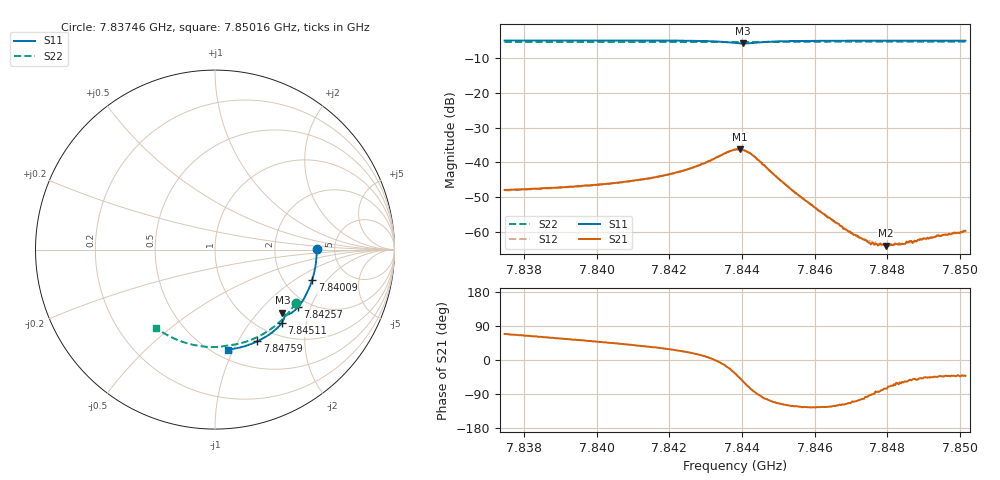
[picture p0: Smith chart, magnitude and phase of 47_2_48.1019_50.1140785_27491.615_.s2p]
#  HZ  S  RI  R  50.00
! Rohde & Schwarz Vector Network Analyzer
! Rohde-Schwarz,ZNB20-2Port,1311601062101988,3.16
! Created: UTC 12/23/2023, 3:39:22 AM
! freq[Hz]  re:S11  im:S11  re:S21  im:S21  re:S12  im:S12  re:S22  im:S22
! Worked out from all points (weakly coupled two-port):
!   401 points, 7.83746 GHz to 7.85016 GHz, reference 50 ohm
!   highest |S21| = -36.22 dB at 7.84393 GHz (marker M1); lowest = -64.0 dB at 7.84797 GHz (marker M2)
!   lowest |S11| = -5.8 dB at 7.84403 GHz (marker M3), VSWR 3.11, Z = 71.8 - j68.4 ohm
!   |S11| at or under -10 dB: nowhere
!   |S22| runs from -5.4 to -5.3 dB; largest |S21 - S12| = 0.00032
!   S11 on the Smith chart (normalised r, x): 7.83746 GHz: 3.61, +0.05; 7.84009 GHz: 2.84, -1.42; 7.84257 GHz: 1.73, -1.63; 7.84511 GHz: 1.24, -1.46; 7.84759 GHz: 0.81, -1.21; 7.85016 GHz: 0.58, -0.95
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7.837458e9  0.5666 0.00433  0.00146 0.00374  0.00147 0.00367  0.4503 -0.2978
7.839586e9  0.5506 -0.1363  0.00281 0.00361  0.0028 0.00356  0.3528 -0.4099
7.840093e9  0.5412 -0.1692  0.00325 0.00356  0.00322 0.00354  0.3248 -0.4323
7.841713e9  0.4964 -0.2706  0.0053 0.00332  0.00529 0.00332  0.2278 -0.4912
7.84257e9  0.4605 -0.3218  0.00769 0.00269  0.00766 0.00269  0.1717 -0.5136
7.843332e9  0.4129 -0.3592  0.0119 -0.0007  0.012 -0.000567  0.1198 -0.5271
7.843808e9  0.3785 -0.3585  0.0124 -0.0088  0.0125 -0.00883  0.0879 -0.5318
7.843935e9  0.3752 -0.3534  0.0105 -0.0113  0.0105 -0.0113  0.0799 -0.5329
7.84403e9  0.3758 -0.3505  0.00818 -0.0126  0.00836 -0.0125  0.0739 -0.534
7.844348e9  0.3851 -0.3561  0.00126 -0.012  0.00116 -0.012  0.0538 -0.5376
7.84511e9  0.3723 -0.4075  -0.00236 -0.0047  -0.00236 -0.00471  0.000438 -0.5429
7.845935e9  0.3311 -0.4514  -0.00137 -0.00196  -0.0014 -0.00199  -0.0579 -0.5406
7.847046e9  0.2677 -0.4947  -0.000312 -0.000891  -0.000368 -0.000864  -0.135 -0.5275
7.847586e9  0.2351 -0.5113  -4e-06 -0.000689  9.98e-06 -0.000726  -0.1714 -0.5173
7.847967e9  0.2116 -0.5217  0.000156 -0.000609  0.000202 -0.000643  -0.1966 -0.5085
7.848062e9  0.2056 -0.5242  0.00022 -0.000598  0.000261 -0.000624  -0.2027 -0.506
7.848443e9  0.1815 -0.5329  0.000336 -0.000572  0.000353 -0.000601  -0.2274 -0.4955
7.848602e9  0.1715 -0.5363  0.000424 -0.000572  0.000412 -0.000605  -0.2376 -0.4908
7.84876e9  0.1615 -0.5394  0.000484 -0.000565  0.000432 -0.000584  -0.2477 -0.4861
7.848983e9  0.1471 -0.5434  0.00052 -0.000595  0.000521 -0.000588  -0.2614 -0.4788
7.849364e9  0.1223 -0.5495  0.000623 -0.000609  0.000637 -0.000622  -0.2846 -0.4657
7.850157e9  0.0703 -0.5582  0.000771 -0.000689  0.000752 -0.00067  -0.3308 -0.4347
